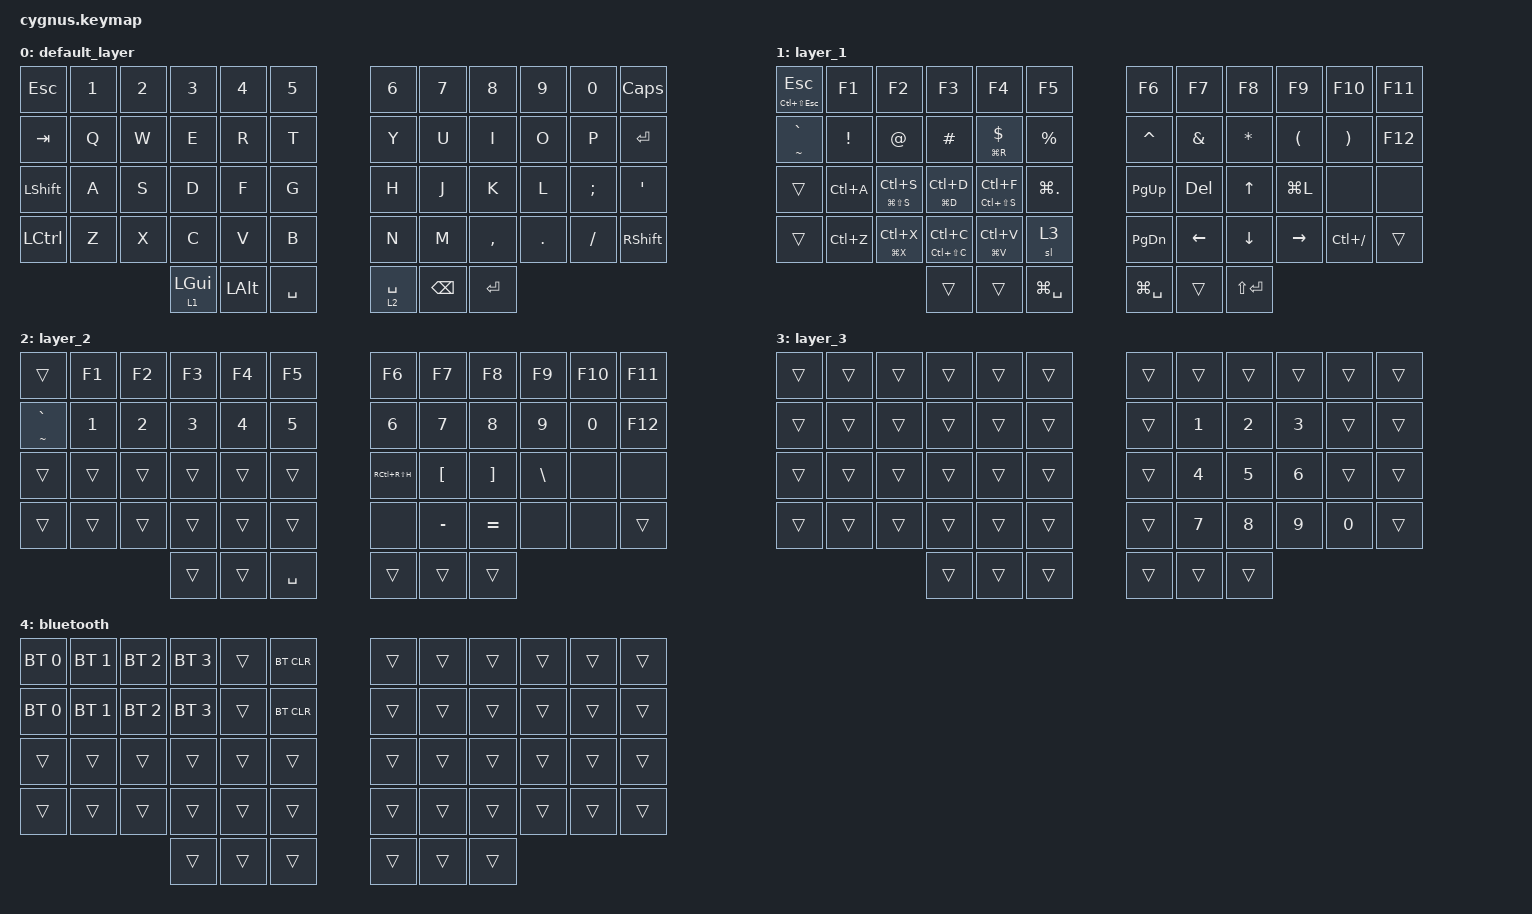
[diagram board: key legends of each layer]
#include <behaviors/rgbled_widget.dtsi>
#include <behaviors.dtsi>
#include <dt-bindings/zmk/bt.h>
#include <dt-bindings/zmk/keys.h>

/ {
    combos {
        compatible = "zmk,combos";

        bt2 {
            bindings = <&tog 4>;
            key-positions = <48 53>;
        };
    };

    behaviors {
        hml: hml {
            compatible = "zmk,behavior-hold-tap";
            label = "HOME_ROW_LEFT";
            bindings = <&kp>, <&kp>;

            #binding-cells = <2>;
            hold-trigger-key-positions = <6 7 8 9 10 11 18 19 20 21 22 23 30 31 32 33 34 35 42 43 44 45 46 47>;
            tapping-term-ms = <180>;
            quick-tap-ms = <175>;
            require-prior-idle-ms = <150>;
            flavor = "balanced";
            hold-trigger-on-release;
        };

        hmr: hmr {
            compatible = "zmk,behavior-hold-tap";
            label = "HOME_ROW_RIGHT";
            bindings = <&kp>, <&kp>;

            #binding-cells = <2>;
            tapping-term-ms = <180>;
            quick-tap-ms = <175>;
            require-prior-idle-ms = <150>;
            flavor = "balanced";
            hold-trigger-key-positions = <0 1 2 3 4 5 12 13 14 15 16 17 24 25 26 27 28 29 36 37 38 39 40 41>;
            hold-trigger-on-release;
        };
    };

    keymap {
        compatible = "zmk,keymap";

        default_layer {
            // -----------------------------------------------------------------------------------------
            // |  ESC |  1  |  2  |  3  |  4  |  5  |   |  6  |  7   |  8  |  9  |  0  |  ?   |
            // |  TAB |  Q  |  W  |  E  |  R  |  T  |   |  Y  |  U   |  I  |  O  |  P  | BKSP |
            // | CTRL |  A  |  S  |  D  |  F  |  G  |   |  H  |  J   |  K  |  L  |  ;  |  '   |
            // | SHFT |  Z  |  X  |  C  |  V  |  B  |   |  N  |  M   |  ,  |  .  |  /  | ESC  |
            //                    | GUI | LWR | SPC |   | ENT | RSE  | ALT |

            bindings = <
&kp ESC           &kp N1  &kp N2  &kp N3          &kp N4        &kp N5       &kp N6       &kp N7         &kp N8      &kp N9   &kp N0     &kp CAPS
&kp TAB           &kp Q   &kp W   &kp E           &kp R         &kp T        &kp Y        &kp U          &kp I       &kp O    &kp P      &kp ENTER
&kp LEFT_SHIFT    &kp A   &kp S   &kp D           &kp F         &kp G        &kp H        &kp J          &kp K       &kp L    &kp SEMI   &kp SQT
&kp LEFT_CONTROL  &kp Z   &kp X   &kp C           &kp V         &kp B        &kp N        &kp M          &kp COMMA   &kp DOT  &kp SLASH  &kp RIGHT_SHIFT
                                  &lt 1 LEFT_GUI  &kp LEFT_ALT  &kp SPACE    &lt 2 SPACE  &kp BACKSPACE  &kp RETURN
            >;
        };

        layer_1 {
            // -----------------------------------------------------------------------------------------
            // |  TAB |  !  |  @  |  #  |  $  |  %  |   |  ^  |  &  |  *  |  (  |  )  | BKSP |
            // | CTRL |     |     |     |     |     |   |  -  |  =  |  [  |  ]  |  \  |  `   |
            // | SHFT |     |     |     |     |     |   |  _  |  +  |  {  |  }  | "|" |  ~   |
            //                    | GUI |     | SPC |   | ENT |     | ALT |

            bindings = <
&hmr LC(LS(ESCAPE)) ESCAPE  &kp F1     &kp F2                &kp F3                &kp F4                &kp F5           &kp F6         &kp F7    &kp F8         &kp F9     &kp F10        &kp F11
&hmr TILDE GRAVE            &kp EXCL   &kp AT                &kp HASH              &hmr LG(R) DLLR       &kp PRCNT        &kp CARET      &kp AMPS  &kp ASTRK      &kp LPAR   &kp RPAR       &kp F12
&trans                      &kp LC(A)  &hmr LG(LS(S)) LC(S)  &hmr LG(D) LC(D)      &hmr LC(LS(S)) LC(F)  &kp LG(DOT)      &kp PG_UP      &kp DEL   &kp UP         &kp LG(L)  &none          &none
&trans                      &kp LC(Z)  &hmr LG(X) LC(X)      &hmr LC(LS(C)) LC(C)  &hmr LG(V) LC(V)      &sl 3            &kp PAGE_DOWN  &kp LEFT  &kp DOWN       &kp RIGHT  &kp LC(SLASH)  &trans
                                                             &trans                &trans                &kp LG(SPACE)    &kp LG(SPACE)  &trans    &kp LS(ENTER)
            >;
        };

        layer_2 {
            // -----------------------------------------------------------------------------------------
            // |  TAB |  F1 |  F2 |  F3 |  F4 |  F5 |   |  F6 |  F7 |  F8 |  F9 | F10 | BKSP |
            // |  TAB |  1  |  2  |  3  |  4  |  5  |   |  6  |  7  |  8  |  9  |  0  | BKSP |
            // | BTCLR| BT1 | BT2 | BT3 | BT4 | BT5 |   | LFT | DWN |  UP | RGT |     |      |
            // | SHFT |     |     |     |     |     |   |     |     |     |     |     |      |
            //                    | GUI |     | SPC |   | ENT |     | ALT |

            bindings = <
&trans            &kp F1        &kp F2        &kp F3        &kp F4        &kp F5       &kp F6         &kp F7            &kp F8             &kp F9         &kp F10  &kp F11
&hmr TILDE GRAVE  &kp NUMBER_1  &kp NUMBER_2  &kp NUMBER_3  &kp NUMBER_4  &kp N5       &kp N6         &kp N7            &kp N8             &kp N9         &kp N0   &kp F12
&trans            &trans        &trans        &trans        &trans        &trans       &kp RC(RS(H))  &kp LEFT_BRACKET  &kp RIGHT_BRACKET  &kp BACKSLASH  &none    &none
&trans            &trans        &trans        &trans        &trans        &trans       &none          &kp MINUS         &kp EQUAL          &none          &none    &trans
                                              &trans        &trans        &kp SPACE    &trans         &trans            &trans
            >;
        };

        layer_3 {
            bindings = <
&trans  &trans  &trans  &trans  &trans  &trans    &trans  &trans  &trans  &trans  &trans  &trans
&trans  &trans  &trans  &trans  &trans  &trans    &trans  &kp N1  &kp N2  &kp N3  &trans  &trans
&trans  &trans  &trans  &trans  &trans  &trans    &trans  &kp N4  &kp N5  &kp N6  &trans  &trans
&trans  &trans  &trans  &trans  &trans  &trans    &trans  &kp N7  &kp N8  &kp N9  &kp N0  &trans
                        &trans  &trans  &trans    &trans  &trans  &trans
            >;
        };

        bluetooth {
            bindings = <
&bt BT_SEL 0  &bt BT_SEL 1  &bt BT_SEL 2  &bt BT_SEL 3  &trans  &bt BT_CLR    &trans  &trans  &trans  &trans  &trans  &trans
&bt BT_SEL 0  &bt BT_SEL 1  &bt BT_SEL 2  &bt BT_SEL 3  &trans  &bt BT_CLR    &trans  &trans  &trans  &trans  &trans  &trans
&trans        &trans        &trans        &trans        &trans  &trans        &trans  &trans  &trans  &trans  &trans  &trans
&trans        &trans        &trans        &trans        &trans  &trans        &trans  &trans  &trans  &trans  &trans  &trans
                                          &trans        &trans  &trans        &trans  &trans  &trans
            >;
        };
    };
};
